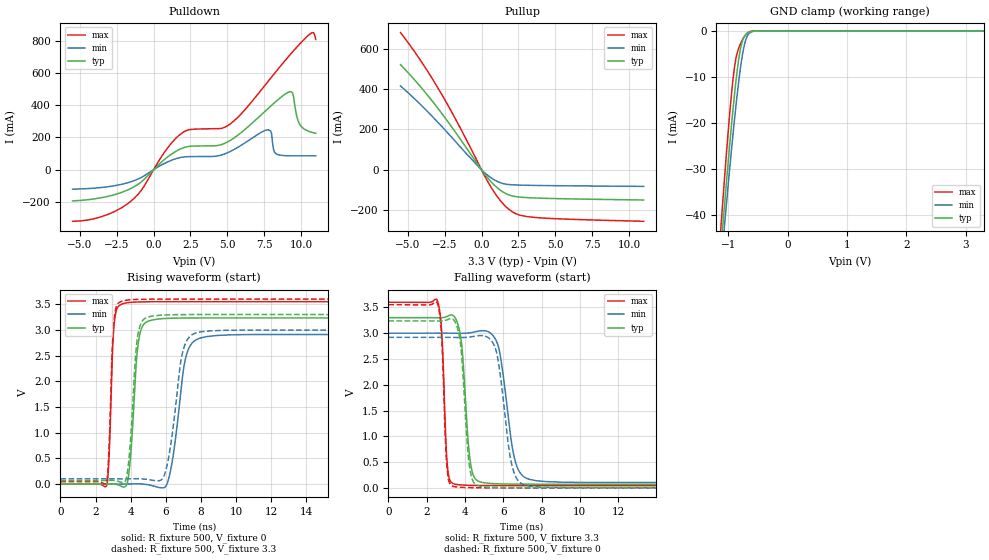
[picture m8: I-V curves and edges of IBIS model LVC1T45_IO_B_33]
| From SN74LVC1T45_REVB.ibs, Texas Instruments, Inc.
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[Model]   LVC1T45_IO_B_33
Model_type  I/O
Vinl=0.8
Vinh=2.0
Enable   Active-Low
Vref =   0
Rref =   2000
Cref =   15p
Vmeas =   1.65
| variable   typ   min   max
C_comp   6.86pF   5.92pF   8.14pF
| C_pullup   10.82pF   9.16pF   12.69pF
| C_pulldown   10.11pF   7.31pF   13.23pF
| C_tri-state   6.86pF   5.92pF   8.14pF
[Temperature Range]   40   100   -40
| Ambient temperature   25   85   -40
[Voltage range]   3.3   3   3.6
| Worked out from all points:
|   slope of the pulldown table from 0 to 0.495 V, typ, clamps not added: 11.2 ohm
|   slope of the pullup table from 0 to 0.495 V, typ, clamps not added: 10.6 ohm
|   GND clamp passes 1 mA (typ) near -0.71 V on its own axis
|   rising waveform, R_fixture 500, V_fixture 0: 20-80 % time 360ps typ, 624ps min, 211ps max; typ from 0 V to 3.23 V
|   falling waveform, R_fixture 500, V_fixture 3.3: 20-80 % time 352ps typ, 619ps min, 218ps max; typ from 3.3 V to 0.069 V
|   rising waveform, R_fixture 500, V_fixture 3.3: 20-80 % time 358ps typ, 630ps min, 216ps max; typ from 0.069 V to 3.3 V
|   falling waveform, R_fixture 500, V_fixture 0: 20-80 % time 344ps typ, 584ps min, 213ps max; typ from 3.24 V to 0 V
[GND Clamp]
| LVC1T45_IO_B_33
|   Voltage   I(typ)   I(min)   I(max)
-5.5V     -910.9mA   -836.3mA   -1.031A
-1.12V    -47.12mA   -50.9mA    -42.25mA
-1.09V    -42.34mA   -46.45mA   -36.95mA
-1.06V    -37.63mA   -42.05mA   -31.78mA
-950mV    -21.32mA   -26.62mA   -14.52mA
-910mV    -15.92mA   -21.37mA   -9.573mA
-875mV    -11.59mA   -17mA      -6.417mA
-820mV    -5.939mA   -10.75mA   -3.68mA
-770mV    -2.643mA   -6.035mA   -2.191mA
-710mV    -920.7uA   -2.212mA   -923.3uA
-635mV    -221.2uA   -410.8uA   -171uA
3.3V      10.41pA    35.81nA    8.12pA
[Pulldown]
| LVC1T45_IO_B_33
|   Voltage   I(typ)   I(min)   I(max)
-5.5V     -194.6mA   -121.5mA   -321.3mA
-1.825V   -129.3mA   -83.52mA   -216.3mA
1.7V      123.2mA    72.65mA    211.3mA
5V        171.2mA    104.3mA    271.8mA
7.675V    372mA      246.2mA    537.6mA
7.97V     396.6mA    233.5mA    571.4mA
8.25V     419.5mA    102.9mA    603.3mA
9.215V    483.4mA    85.88mA    709.4mA
9.445V    469.9mA    85.7mA     733.5mA
9.93V     278.8mA    85.68mA    782.4mA
10.77V    230.9mA    85.86mA    851.2mA
11V       225.9mA    85.92mA    808.7mA
[Pullup]
| LVC1T45_IO_B_33
|   Voltage   I(typ)   I(min)   I(max)
-5.5V     521mA      415.5mA    680.3mA
-4.125V   410.3mA    322.3mA    540.3mA
-2.79V    288.4mA    222mA      384.5mA
-1.5V     158.2mA    118.3mA    215mA
195mV     -19.51mA   -13.56mA   -27.85mA
640mV     -58.63mA   -39.42mA   -85.46mA
1.07V     -88.98mA   -57.5mA    -132.8mA
1.49V     -111.1mA   -68.41mA   -170.4mA
1.9V      -125.3mA   -73.08mA   -198.2mA
2.575V    -134.8mA   -75.52mA   -223.8mA
3.665V    -139.5mA   -77.22mA   -236mA
11V       -149.3mA   -81.96mA   -254.9mA
[Ramp]
| LVC1T45_IO_B_33
| variable   typ   min   max
dV/dt_r   1.98/3.73E-10   1.79/6.46E-10   2.16/2.23E-10
dV/dt_f   1.97/3.66E-10   1.77/6.35E-10   2.17/2.33E-10
R_load = 500
[Rising Waveform]
| LVC1T45_IO_B_33
R_fixture =   500
C_fixture =   0
L_fixture =   0
V_fixture =   0
V_fixture_min = 0
V_fixture_max = 0
|   Time   V(typ)   V(min)   V(max)
0s        168.9pV    331.3pV    105.2pV
2.635ns   535.9uV    -2.868uV   -26.37mV
3.05ns    328.1uV    25.36uV    3.071V
3.53ns    -54.06mV   -143.3uV   3.507V
3.92ns    272.3mV    949.2uV    3.534V
4.46ns    2.808V     3.006mV    3.545V
5.03ns    3.175V     -15.41mV   3.548V
6.095ns   3.225V     21.1mV     3.549V
7.925ns   3.233V     2.839V     3.55V
29.99ns   3.234V     2.914V     3.55V
[Falling Waveform]
| LVC1T45_IO_B_33
R_fixture =   500
C_fixture =   0
L_fixture =   0
V_fixture =   3.3
V_fixture_min = 3
V_fixture_max = 3.6
|   Time   V(typ)   V(min)   V(max)
0s        3.3V       3V         3.6V
2.575ns   3.298V     3V         3.617V
3.075ns   3.325V     3V         462.9mV
3.415ns   3.333V     2.999V     78.23mV
4.295ns   465.1mV    3.009V     49.31mV
4.77ns    118.4mV    3.043V     46.61mV
5.725ns   78.71mV    2.768V     44.83mV
6.58ns    72.54mV    585.1mV    44.39mV
7.355ns   70.73mV    166.2mV    44.25mV
29.99ns   69.38mV    100.9mV    44.1mV
[Rising Waveform]
| LVC1T45_IO_B_33
R_fixture =   500
C_fixture =   0
L_fixture =   0
V_fixture =   3.3
V_fixture_min = 3
V_fixture_max = 3.6
|   Time   V(typ)   V(min)   V(max)
0s        69.31mV    100.8mV    44.06mV
2.615ns   69.7mV     100.8mV    24.07mV
3.03ns    70.18mV    100.8mV    3.107V
3.485ns   30.06mV    100.6mV    3.558V
3.87ns    372.7mV    101.5mV    3.584V
4.385ns   2.846V     103.5mV    3.595V
4.945ns   3.247V     90.25mV    3.598V
5.93ns    3.291V     181.5mV    3.6V
7.7ns     3.3V       2.94V      3.6V
29.99ns   3.3V       3V         3.6V
[Falling Waveform]
| LVC1T45_IO_B_33
R_fixture =   500
C_fixture =   0
L_fixture =   0
V_fixture =   0
V_fixture_min = 0
V_fixture_max = 0
|   Time   V(typ)   V(min)   V(max)
0s        3.237V     2.918V     3.551V
2.57ns    3.235V     2.918V     3.567V
3.06ns    3.258V     2.918V     399.8mV
3.37ns    3.272V     2.917V     31mV
4.26ns    360.9mV    2.925V     4.439mV
4.705ns   39.48mV    2.951V     2.252mV
5.615ns   7.22mV     2.675V     712.3uV
6.42ns    2.499mV    493.6mV    318.2uV
7.135ns   1.128mV    52.09mV    185.7uV
29.99ns   70.31uV    137.7uV    35.21uV
